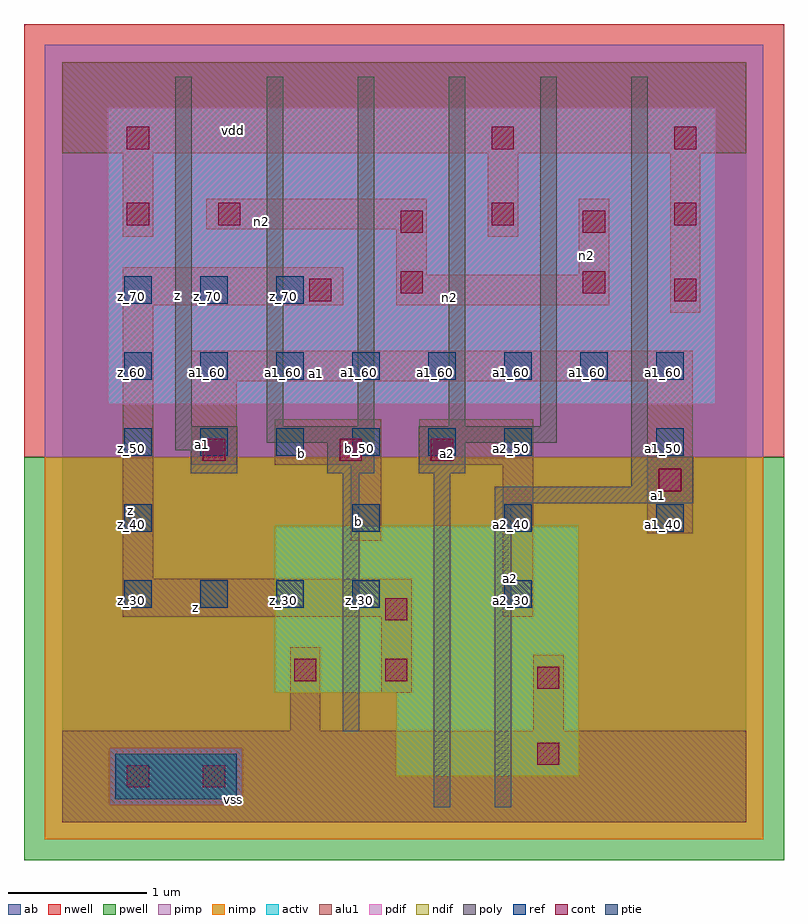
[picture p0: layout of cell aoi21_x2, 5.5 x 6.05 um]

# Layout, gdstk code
import gdstk
lib = gdstk.Library(unit=1e-6, precision=2.5e-09)
def R(c, l, rs):  # rectangles x0, y0, x1, y1
    for r in rs: c.add(gdstk.rectangle(r[:2], r[2:], *l))
def A(c, l, x, y, w, h, nx, ny, dx, dy):  # array of equal rectangles
    R(c, l, [(x+i*dx, y+j*dy, x+i*dx+w, y+j*dy+h) for i in range(nx) for j in range(ny)])
ndif = (3, 0)
pdif = (4, 0)
ptie = (6, 0)
ref = (24, 0)
cont = (25, 0)
pwell = (41, 0)
nwell = (42, 0)
activ = (43, 0)
pimp = (44, 0)
nimp = (45, 0)
poly = (46, 0)
alu1 = (49, 0)
ab = (63, 0)

aoi21_x2 = lib.new_cell('aoi21_x2')
R(aoi21_x2, ndif, [(2.42,0.33,3.74,0.935), (1.54,0.935,3.74,2.145)])
R(aoi21_x2, pdif, [(0.33,3.025,4.73,5.17)])
R(aoi21_x2, ptie, [(0.385,0.165,1.265,0.495)])
A(aoi21_x2, ref, 0.45, 1.55, 0.2, 0.2, 4, 1, 0.55, 0)
A(aoi21_x2, ref, 2.1, 2.1, 0.2, 0.2, 3, 1, 1.1, 0)
A(aoi21_x2, ref, 0.45, 2.65, 0.2, 0.2, 6, 1, 0.55, 0)
A(aoi21_x2, ref, 0.45, 3.2, 0.2, 0.2, 8, 1, 0.55, 0)
A(aoi21_x2, ref, 0.45, 3.75, 0.2, 0.2, 3, 1, 0.55, 0)
R(aoi21_x2, ref, [(3.2,1.55,3.4,1.75), (0.45,2.1,0.65,2.3), (4.3,2.65,4.5,2.85)])
A(aoi21_x2, cont, 4.43, 3.77, 0.16, 0.16, 1, 3, 0, 0.55)
R(aoi21_x2, cont, [(0.47,0.25,0.63,0.41), (1.02,0.25,1.18,0.41), (3.44,0.415,3.6,0.575), (3.44,0.965,3.6,1.125), (1.68,1.02,1.84,1.18), (2.34,1.02,2.5,1.18), (2.34,1.46,2.5,1.62), (4.32,2.395,4.48,2.555), (1.02,2.615,1.18,2.775), (2.01,2.615,2.17,2.775), (2.67,2.615,2.83,2.775), (1.79,3.77,1.95,3.93), (2.45,3.825,2.61,3.985), (3.77,3.825,3.93,3.985), (2.45,4.265,2.61,4.425), (3.77,4.265,3.93,4.425), (0.47,4.32,0.63,4.48), (1.13,4.32,1.29,4.48), (3.11,4.32,3.27,4.48), (0.47,4.87,0.63,5.03), (3.11,4.87,3.27,5.03)])
R(aoi21_x2, pwell, [(-0.275,-0.275,5.225,2.64)])
R(aoi21_x2, nwell, [(-0.275,2.64,5.225,5.775)])
R(aoi21_x2, activ, [(0.385,0.165,1.265,0.495), (2.42,0.33,3.74,0.935), (1.54,0.935,3.74,2.145), (0.33,3.025,4.73,5.17)])
R(aoi21_x2, pimp, [(0.345,0.125,1.305,0.535), (-0.125,2.64,5.075,5.625)])
R(aoi21_x2, nimp, [(-0.125,-0.125,5.075,0.125), (-0.125,0.125,0.345,0.535), (1.305,0.125,5.075,0.535), (-0.125,0.535,5.075,2.64)])
A(aoi21_x2, poly, 0.82, 2.865, 0.12, 2.53, 5, 1, 0.66, 0)
R(aoi21_x2, poly, [(2.69,0.105,2.81,2.525), (3.13,0.105,3.25,2.305), (2.03,0.655,2.15,2.525), (3.13,2.305,4.57,2.425), (4.12,2.425,4.57,2.645), (0.93,2.525,1.27,2.69), (1.92,2.525,2.26,2.745), (2.58,2.525,2.92,2.745), (4.12,2.645,4.24,5.395), (0.82,2.69,1.27,2.865), (1.48,2.745,2.26,2.865), (2.58,2.745,3.58,2.865)])
R(aoi21_x2, alu1, [(0,0,4.95,0.66), (1.65,0.66,1.87,1.265), (3.41,0.66,3.63,1.21), (2.31,0.935,2.53,1.485), (0.44,1.485,2.53,1.76), (3.19,1.485,3.41,2.585), (0.44,1.76,0.66,3.74), (2.09,2.035,2.31,2.585), (4.235,2.09,4.565,3.19), (0.935,2.585,1.265,3.19), (1.54,2.585,2.31,2.915), (2.585,2.585,3.41,2.915), (0.935,3.19,4.565,3.41), (4.4,3.685,4.62,4.84), (0.44,3.74,2.035,4.015), (2.42,3.74,3.96,3.96), (2.42,3.96,2.64,4.29), (3.74,3.96,3.96,4.51), (0.44,4.235,0.66,4.84), (3.08,4.235,3.3,4.84), (1.045,4.29,2.64,4.51), (0,4.84,4.95,5.5)])
R(aoi21_x2, ab, [(0,0,4.95,5.5)])
aoi21_x2.add(gdstk.Label('vss', (1.2375,0.165), layer=49, texttype=0))
aoi21_x2.add(gdstk.Label('a1', (4.3175,2.365), layer=49, texttype=0))
aoi21_x2.add(gdstk.Label('a2', (3.245,1.76), layer=49, texttype=0))
aoi21_x2.add(gdstk.Label('z', (0.9625,1.5525), layer=49, texttype=0))
aoi21_x2.add(gdstk.Label('b', (2.145,2.1725), layer=49, texttype=0))
aoi21_x2.add(gdstk.Label('a2', (2.79,2.6675), layer=49, texttype=0))
aoi21_x2.add(gdstk.Label('b', (1.7325,2.6675), layer=49, texttype=0))
aoi21_x2.add(gdstk.Label('a1', (1.0175,2.735), layer=49, texttype=0))
aoi21_x2.add(gdstk.Label('a1', (1.8425,3.245), layer=49, texttype=0))
aoi21_x2.add(gdstk.Label('z', (0.495,2.255), layer=49, texttype=0))
aoi21_x2.add(gdstk.Label('n2', (2.805,3.795), layer=49, texttype=0))
aoi21_x2.add(gdstk.Label('n2', (3.795,4.0975), layer=49, texttype=0))
aoi21_x2.add(gdstk.Label('z', (0.8375,3.8075), layer=49, texttype=0))
aoi21_x2.add(gdstk.Label('n2', (1.4425,4.345), layer=49, texttype=0))
aoi21_x2.add(gdstk.Label('vdd', (1.2375,5.005), layer=49, texttype=0))
aoi21_x2.add(gdstk.Label('a2_30', (3.25,1.6), layer=24, texttype=0))
aoi21_x2.add(gdstk.Label('a2_40', (3.25,2.15), layer=24, texttype=0))
aoi21_x2.add(gdstk.Label('b_50', (2.15,2.7), layer=24, texttype=0))
aoi21_x2.add(gdstk.Label('a1_60', (1.05,3.25), layer=24, texttype=0))
aoi21_x2.add(gdstk.Label('z_70', (0.5,3.8), layer=24, texttype=0))
aoi21_x2.add(gdstk.Label('a2_50', (2.7,2.7), layer=24, texttype=0))
aoi21_x2.add(gdstk.Label('a2_50', (3.25,2.7), layer=24, texttype=0))
aoi21_x2.add(gdstk.Label('a1_60', (1.6,3.25), layer=24, texttype=0))
aoi21_x2.add(gdstk.Label('a1_60', (2.15,3.25), layer=24, texttype=0))
aoi21_x2.add(gdstk.Label('a1_60', (2.7,3.25), layer=24, texttype=0))
aoi21_x2.add(gdstk.Label('a1_60', (3.25,3.25), layer=24, texttype=0))
aoi21_x2.add(gdstk.Label('a1_60', (3.8,3.25), layer=24, texttype=0))
aoi21_x2.add(gdstk.Label('a1_50', (4.35,2.7), layer=24, texttype=0))
aoi21_x2.add(gdstk.Label('a1_50', (1.05,2.7), layer=24, texttype=0))
aoi21_x2.add(gdstk.Label('z_30', (2.15,1.6), layer=24, texttype=0))
aoi21_x2.add(gdstk.Label('z_40', (0.5,2.15), layer=24, texttype=0))
aoi21_x2.add(gdstk.Label('z_50', (0.5,2.7), layer=24, texttype=0))
aoi21_x2.add(gdstk.Label('z_60', (0.5,3.25), layer=24, texttype=0))
aoi21_x2.add(gdstk.Label('z_30', (1.05,1.6), layer=24, texttype=0))
aoi21_x2.add(gdstk.Label('z_30', (1.6,1.6), layer=24, texttype=0))
aoi21_x2.add(gdstk.Label('z_70', (1.05,3.8), layer=24, texttype=0))
aoi21_x2.add(gdstk.Label('z_70', (1.6,3.8), layer=24, texttype=0))
aoi21_x2.add(gdstk.Label('b_50', (1.6,2.7), layer=24, texttype=0))
aoi21_x2.add(gdstk.Label('a1_60', (4.35,3.25), layer=24, texttype=0))
aoi21_x2.add(gdstk.Label('a1_40', (4.35,2.15), layer=24, texttype=0))
aoi21_x2.add(gdstk.Label('b_40', (2.15,2.15), layer=24, texttype=0))
aoi21_x2.add(gdstk.Label('z_30', (0.5,1.6), layer=24, texttype=0))

lib.write_gds('aoi21_x2.gds')
